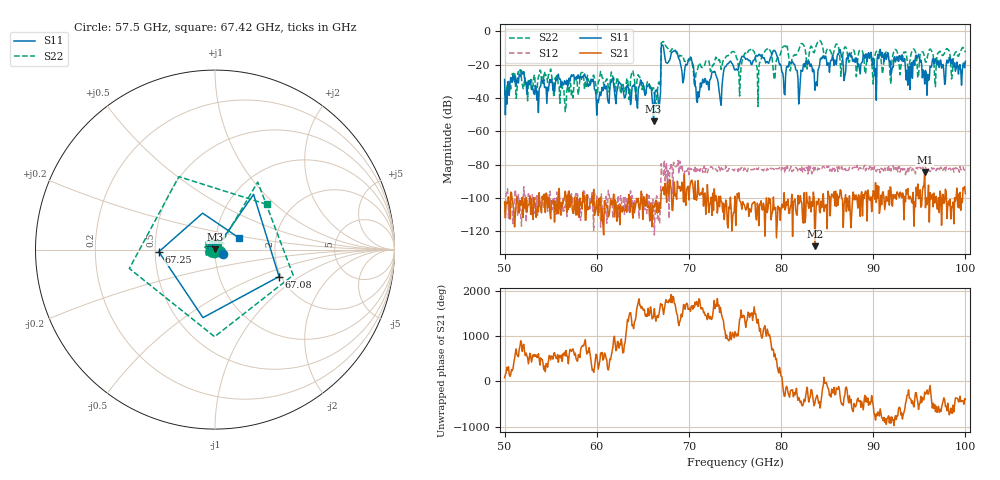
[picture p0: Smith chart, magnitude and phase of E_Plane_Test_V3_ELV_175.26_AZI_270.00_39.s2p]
! 11/26/2026 4:25:36 PM
! C:\ANRITSUVNA\TEMP\TEMP.S2P
! CHANNEL.1
! TR.MEASUREMENT
! RAW.DATA
# HZ S RI R 50.0
! FREQ.HZ  S11RE  S11IM  S21RE  S21IM  S12RE  S12IM  S22RE  S22IM
!; PortSelection: Port_12
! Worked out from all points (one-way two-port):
!   601 points, 50 GHz to 100 GHz, reference 50 ohm
!   highest |S21| = -84.47 dB at 95.58 GHz (marker M1); lowest = -128.9 dB at 83.67 GHz (marker M2)
!   lowest |S11| = -53.9 dB at 66.17 GHz (marker M3), VSWR 1.00, Z = 50.1 + j0.147 ohm
!   |S11| at or under -10 dB: start of sweep to 67 GHz; 67.25 GHz to end of sweep
!   |S22| runs from -48.2 to -5.6 dB; largest |S21 - S12| = 0.00015
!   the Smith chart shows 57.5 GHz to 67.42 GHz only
!   S11 on the Smith chart (normalised r, x): 57.5 GHz: 1.09, -0.05; 67.08 GHz: 1.95, -0.69; 67.25 GHz: 0.52, -0.01; 67.42 GHz: 1.29, +0.18
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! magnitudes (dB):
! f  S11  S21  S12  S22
! 50 GHz  -28.9  -102.3  -109.1  -35.6
! 57.5 GHz  -26.1  -109.2  -105.6  -34.6
! 58.42 GHz  -27.1  -106.7  -103.0  -24.8
! 60.17 GHz  -42.8  -110.5  -102.0  -30.4
! 66.17 GHz  -53.9  -105.6  -107.2  -34.0
! 66.67 GHz  -41.5  -103.9  -102.4  -31.6
! 67.08 GHz  -8.2  -95.6  -86.3  -6.8
! 67.25 GHz  -10.1  -93.3  -86.1  -6.2
! 67.42 GHz  -16.6  -91.2  -89.8  -8.3
! 70.25 GHz  -15.9  -89.5  -83.0  -18.8
! 70.92 GHz  -42.7  -98.0  -82.6  -23.1
! 75 GHz  -23.3  -98.9  -82.6  -12.9
! 79.25 GHz  -11.5  -107.1  -82.8  -28.9
! 80.25 GHz  -27.8  -104.7  -81.1  -9.3
! 83.42 GHz  -24.3  -104.9  -82.9  -10.8
! 83.67 GHz  -35.4  -128.9  -81.6  -11.6
! 84.58 GHz  -14.8  -97.5  -81.0  -11.6
! 91.67 GHz  -16.6  -95.5  -80.6  -15.2
! 93.75 GHz  -32.4  -94.2  -82.1  -21.3
! 94.83 GHz  -15.1  -91.6  -83.1  -27.9
! 95.58 GHz  -31.7  -84.5  -80.4  -16.4
! 100 GHz  -18.1  -97.4  -82.9  -12.6
